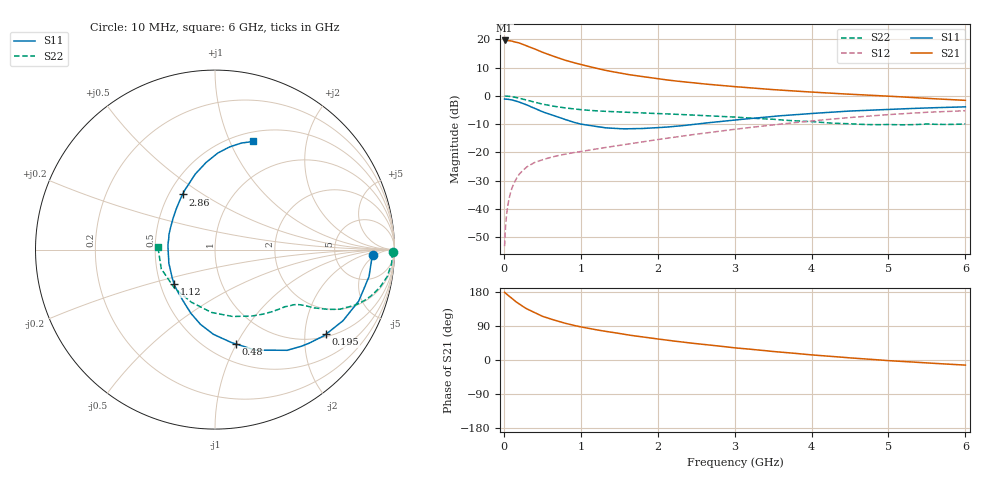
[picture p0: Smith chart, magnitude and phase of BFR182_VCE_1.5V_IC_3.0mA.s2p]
! Infineon Technologies  Discrete & RF Semiconductors
! BFR182
! VCE =  1.5 V,  IC =  3.0 mA
! Common Emitter S-Parameters:  Nov 2015
# GHz  S  MA  R  50
!  f  S11  S21  S12  S22
! GHz  MAG  ANG  MAG  ANG  MAG  ANG  MAG  ANG
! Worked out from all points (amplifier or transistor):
!   210 points, 10 MHz to 6 GHz, reference 50 ohm
!   highest |S21| = 19.6 dB at 10 MHz (marker M1)
!   |S21| within 3 dB of that: start of sweep to 401.5 MHz
!   unconditionally stable (mu >= 1): 1.25 GHz to 3.026 GHz
!   at 185 MHz: K = 0.24, MSG = 23.5 dB, |S12| = -28.3 dB
!   at 1.52 GHz: K = 1.06, MAG = 11.3 dB, |S12| = -17.4 dB
!   at 6 GHz: K = 0.90, MSG = 1.8 dB, |S12| = -5.3 dB
!   S11 on the Smith chart (normalised r, x): 10 MHz: 14, -4; 195 MHz: 1.08, -2.57; 480 MHz: 0.67, -1.00; 1.12 GHz: 0.59, -0.25; 2.86 GHz: 0.59, +0.41; 6 GHz: 0.60, +1.23
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0.01  0.8787 -2.0  9.527 178.5  0.0022 89.2  0.9945 -0.9
0.02  0.8745 -3.7  9.352 176.6  0.0044 84.6  0.9881 -1.9
0.04  0.8712 -7.8  9.439 173.2  0.0089 85.3  0.9871 -3.6
0.1  0.8506 -19.7  9.33 163.5  0.0223 79.5  0.9713 -8.9
0.15  0.816 -29.0  8.908 154.8  0.032 73.7  0.9426 -12.9
0.195  0.7785 -37.2  8.629 148.3  0.0403 70.5  0.9118 -16.0
0.24  0.7402 -44.7  8.2 142.2  0.0469 67.0  0.8799 -18.8
0.3  0.6901 -54.4  7.575 134.8  0.0555 63.6  0.8383 -21.7
0.4  0.6038 -68.1  6.758 124.7  0.0663 58.5  0.7736 -25.4
0.48  0.5392 -77.4  6.07 117.5  0.0724 56.0  0.7263 -27.3
0.6  0.4724 -91.0  5.256 108.6  0.0812 53.9  0.6708 -29.3
0.7  0.4248 -100.9  4.723 102.4  0.0876 53.0  0.6388 -30.5
0.9  0.3443 -119.4  3.884 91.7  0.0988 52.3  0.5882 -32.0
1.02  0.3135 -131.3  3.526 86.7  0.1047 53.0  0.567 -32.9
1.12  0.298 -139.9  3.269 82.9  0.1104 53.5  0.5528 -33.7
1.6  0.2613 -177.7  2.399 66.6  0.1394 55.3  0.512 -38.1
2.02  0.2746 155.5  1.988 55.0  0.1702 56.5  0.4851 -43.4
2.86  0.3565 120.4  1.513 35.4  0.243 54.6  0.4309 -58.4
3.1  0.3847 113.7  1.419 30.4  0.2656 53.0  0.4124 -64.0
4.1  0.4975 94.2  1.145 12.0  0.3701 44.1  0.3413 -97.0
5.1  0.5841 80.7  0.97 -2.8  0.4745 31.5  0.3085 -141.5
6  0.639 70.5  0.832 -13.5  0.546 18.0  0.3184 177.4
